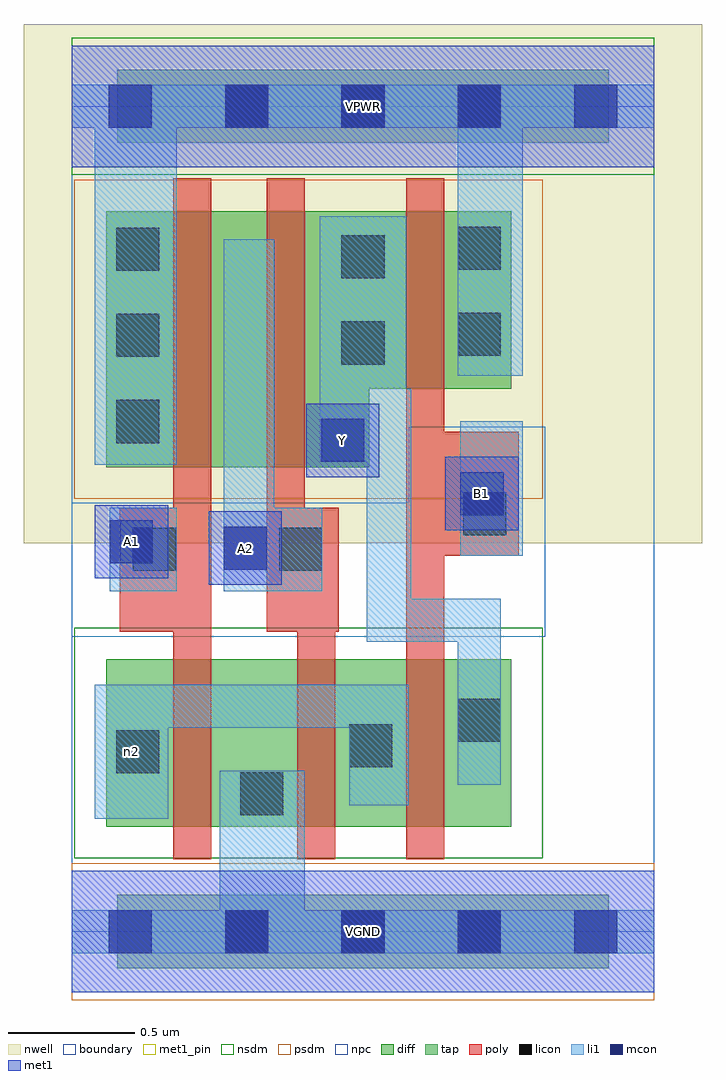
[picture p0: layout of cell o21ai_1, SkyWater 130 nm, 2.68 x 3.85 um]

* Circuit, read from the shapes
.subckt o21ai_1 A1 A2 B1 VGND VPWR Y n2
XM1 VGND A1 n2 VGND sky130_fd_pr__nfet_01v8 w=0.66 l=0.15
XM2 n2 A2 VGND VGND sky130_fd_pr__nfet_01v8 w=0.66 l=0.15
XM3 Y B1 n2 VGND sky130_fd_pr__nfet_01v8 w=0.66 l=0.15
XM4 n1 A1 VPWR VPWR sky130_fd_pr__pfet_01v8 w=1.01 l=0.15
XM5 Y A2 n1 VPWR sky130_fd_pr__pfet_01v8 w=1.01 l=0.15
XM6 VPWR B1 Y VPWR sky130_fd_pr__pfet_01v8 w=0.7 l=0.15
.ends

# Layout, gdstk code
import gdstk
lib = gdstk.Library(unit=1e-6, precision=1e-09)
def R(c, l, rs):  # rectangles x0, y0, x1, y1
    for r in rs: c.add(gdstk.rectangle(r[:2], r[2:], *l))
def A(c, l, x, y, w, h, nx, ny, dx, dy):  # array of equal rectangles
    R(c, l, [(x+i*dx, y+j*dy, x+i*dx+w, y+j*dy+h) for i in range(nx) for j in range(ny)])
nwell = (64, 20)
diff = (65, 20)
tap = (65, 44)
poly = (66, 20)
licon = (66, 44)
li1 = (67, 20)
mcon = (67, 44)
met1_pin = (68, 16)
met1 = (68, 20)
nsdm = (93, 44)
psdm = (94, 20)
npc = (95, 20)
boundary = (235, 4)

o21ai_1 = lib.new_cell('o21ai_1')
R(o21ai_1, nwell, [(-0.19,1.535,2.49,3.585), (0,1.535,2.3,3.585)])
R(o21ai_1, diff, [(0.135,0.415,1.735,1.075), (0.135,1.835,1.175,2.845), (0.135,2.145,1.735,2.845)])
R(o21ai_1, tap, [(0.18,-0.145,2.12,0.145), (0.18,3.115,2.12,3.405)])
R(o21ai_1, poly, [(0.4,0.285,0.55,2.975), (0.89,0.285,1.04,1.675), (1.32,0.285,1.47,2.975), (0.19,1.185,0.55,1.675), (0.77,1.185,0.92,2.975), (0.77,1.185,1.055,1.675), (1.32,1.485,1.765,1.975)])
A(o21ai_1, licon, 0.605, -0.085, 0.17, 0.17, 3, 2, 0.46, 3.26)
A(o21ai_1, licon, 0.175, 1.93, 0.17, 0.17, 1, 3, 0, 0.34)
R(o21ai_1, licon, [(0.665,0.46,0.835,0.63), (0.175,0.625,0.345,0.795), (1.095,0.65,1.265,0.82), (1.525,0.75,1.695,0.92), (0.24,1.425,0.41,1.595), (0.82,1.425,0.99,1.595), (1.545,1.565,1.715,1.735), (1.065,2.24,1.235,2.41), (1.525,2.275,1.695,2.445), (1.065,2.58,1.235,2.75), (1.525,2.615,1.695,2.785)])
R(o21ai_1, li1, [(0,-0.085,2.3,0.085), (0.585,-0.085,0.92,0.635), (0.09,0.445,0.38,0.975), (1.095,0.5,1.33,0.975), (1.525,0.58,1.695,1.315), (0.09,0.805,1.33,0.975), (1.165,1.145,1.34,2.145), (1.165,1.145,1.695,1.315), (0.15,1.345,0.415,1.675), (0.6,1.345,0.8,2.735), (0.6,1.345,0.99,1.675), (1.535,1.485,1.78,2.015), (0.09,1.845,0.415,3.345), (0.98,1.855,1.32,2.825), (1.525,2.195,1.78,3.345), (0,3.175,2.3,3.345)])
A(o21ai_1, mcon, 0.145, -0.085, 0.17, 0.17, 5, 2, 0.46, 3.26)
R(o21ai_1, mcon, [(0.6,1.43,0.77,1.6), (0.15,1.455,0.32,1.625), (1.535,1.645,1.705,1.815), (0.985,1.855,1.155,2.025)])
R(o21ai_1, met1_pin, [(0,-0.24,2.3,0.24), (0.54,1.37,0.83,1.66), (0.09,1.395,0.38,1.685), (1.475,1.585,1.765,1.875), (0.925,1.795,1.215,2.085), (0,3.02,2.3,3.5)])
R(o21ai_1, met1, [(0,-0.24,2.3,0.24), (0.54,1.37,0.83,1.66), (0.09,1.395,0.38,1.685), (1.475,1.585,1.765,1.875), (0.925,1.795,1.215,2.085), (0,3.02,2.3,3.5)])
R(o21ai_1, nsdm, [(0.01,0.29,1.86,1.2), (0,2.99,2.3,3.53)])
R(o21ai_1, psdm, [(0,-0.27,2.3,0.27), (0.01,1.71,1.86,2.97)])
R(o21ai_1, npc, [(0,1.165,1.87,1.695), (1.33,1.165,1.87,1.995)])
R(o21ai_1, boundary, [(0,0,2.3,3.26)])
o21ai_1.add(gdstk.Label('n2', (0.235,0.71), layer=67, texttype=5))
o21ai_1.add(gdstk.Label('A1', (0.235,1.54), layer=68, texttype=5))
o21ai_1.add(gdstk.Label('A2', (0.685,1.515), layer=68, texttype=5))
o21ai_1.add(gdstk.Label('B1', (1.62,1.73), layer=68, texttype=5))
o21ai_1.add(gdstk.Label('Y', (1.07,1.94), layer=68, texttype=5))
o21ai_1.add(gdstk.Label('VPWR', (1.15,3.26), layer=68, texttype=5))
o21ai_1.add(gdstk.Label('VGND', (1.15,0), layer=68, texttype=5))
o21ai_1.add(gdstk.Label('A1', (0.235,1.54), layer=68, texttype=16))
o21ai_1.add(gdstk.Label('A2', (0.685,1.515), layer=68, texttype=16))
o21ai_1.add(gdstk.Label('B1', (1.62,1.73), layer=68, texttype=16))
o21ai_1.add(gdstk.Label('Y', (1.07,1.94), layer=68, texttype=16))
o21ai_1.add(gdstk.Label('VPWR', (1.15,3.26), layer=68, texttype=16))
o21ai_1.add(gdstk.Label('VGND', (1.15,0), layer=68, texttype=16))

lib.write_gds('o21ai_1.gds')
